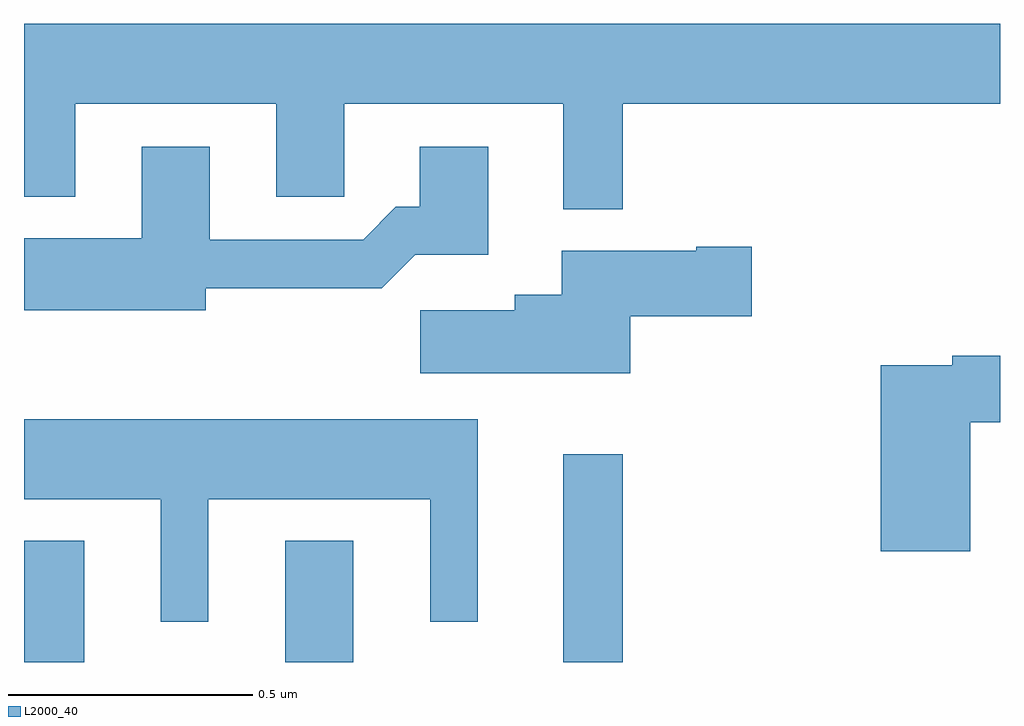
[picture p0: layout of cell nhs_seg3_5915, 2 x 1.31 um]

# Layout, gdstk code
import gdstk
lib = gdstk.Library(unit=1e-6, precision=1e-09)
def R(c, l, rs):  # rectangles x0, y0, x1, y1
    for r in rs: c.add(gdstk.rectangle(r[:2], r[2:], *l))
def P(c, l, *ps):  # polygons
    for p in ps: c.add(gdstk.Polygon(p, *l))
L2000_40 = (2000, 40)

nhs_seg3_5915 = lib.new_cell('nhs_seg3_5915')
R(nhs_seg3_5915, L2000_40, [(184,738.4,184.123,738.649), (184.535,738.4,184.675,738.649), (185.105,738.4,185.227,738.826)])
P(nhs_seg3_5915, L2000_40, [(185.227,739.544),(186,739.544),(186,739.708),(184,739.708),(184,739.354),(184.105,739.354),(184.105,739.544),(184.517,739.544),(184.517,739.354),(184.656,739.354),(184.656,739.544),(185.105,739.544),(185.105,739.328),(185.227,739.328)],
  [(184.372,739.166),(184.733,739.166),(184.802,739.235),(184.951,739.235),(184.951,739.456),(184.811,739.456),(184.811,739.333),(184.762,739.333),(184.695,739.266),(184.381,739.266),(184.381,739.456),(184.241,739.456),(184.241,739.269),(184,739.269),(184,739.121),(184.372,739.121)],
  [(185.242,739.109),(185.491,739.109),(185.491,739.251),(185.378,739.251),(185.378,739.243),(185.102,739.243),(185.102,739.153),(185.006,739.153),(185.006,739.121),(184.812,739.121),(184.812,738.992),(185.242,738.992)],
  [(185.939,738.892),(186,738.892),(186,739.028),(185.902,739.028),(185.902,739.008),(185.756,739.008),(185.756,738.627),(185.939,738.627)],
  [(184.378,738.734),(184.832,738.734),(184.832,738.483),(184.93,738.483),(184.93,738.898),(184,738.898),(184,738.734),(184.28,738.734),(184.28,738.483),(184.378,738.483)])

lib.write_gds('nhs_seg3_5915.gds')
